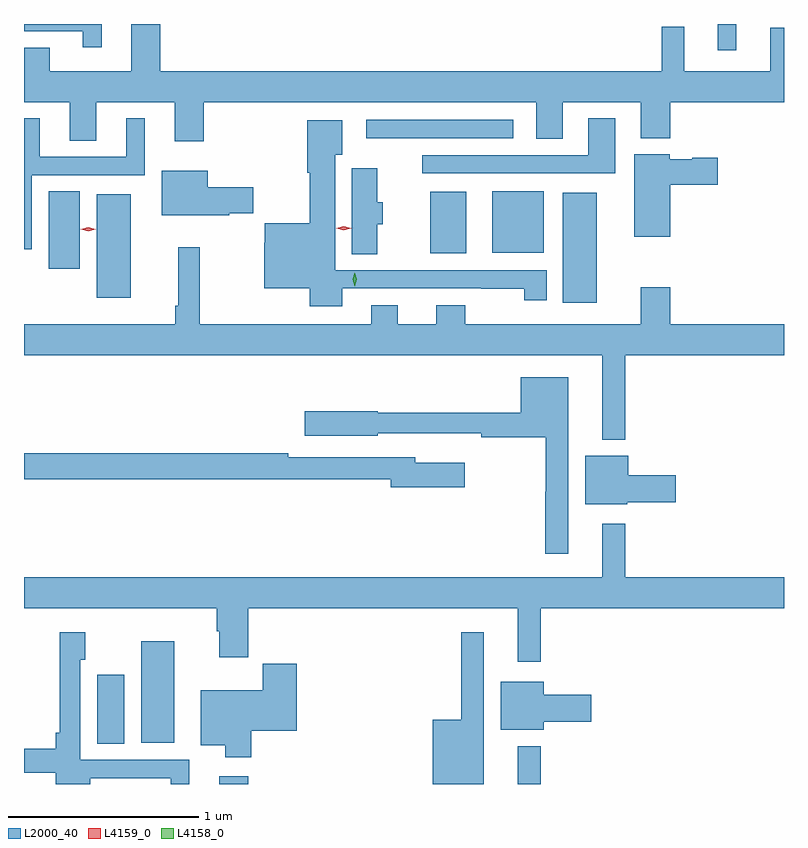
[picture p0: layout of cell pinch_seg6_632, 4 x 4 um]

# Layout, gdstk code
import gdstk
lib = gdstk.Library(unit=1e-6, precision=1e-09)
def R(c, l, rs):  # rectangles x0, y0, x1, y1
    for r in rs: c.add(gdstk.rectangle(r[:2], r[2:], *l))
def P(c, l, *ps):  # polygons
    for p in ps: c.add(gdstk.Polygon(p, *l))
L2000_40 = (2000, 40)
L4158_0 = (4158, 0)
L4159_0 = (4159, 0)

pinch_seg6_632 = lib.new_cell('pinch_seg6_632')
R(pinch_seg6_632, L2000_40, [(389.549,941.084,389.702,941.125), (391.121,941.084,391.243,941.284), (388.907,941.296,389.05,941.659), (389.138,941.3,389.314,941.836), (391.358,943.616,391.537,944.197), (388.904,943.643,389.083,944.188), (388.652,943.797,388.816,944.204), (390.659,943.877,390.85,944.2), (390.986,943.88,391.258,944.203), (390.324,944.484,391.096,944.58), (392.174,944.946,392.271,945.084)])
P(pinch_seg6_632, L2000_40, [(389.468,944.672),(391.217,944.672),(391.217,944.479),(391.357,944.479),(391.357,944.672),(391.769,944.672),(391.769,944.483),(391.922,944.483),(391.922,944.672),(392.522,944.672),(392.522,945.064),(392.45,945.064),(392.45,944.836),(391.997,944.836),(391.997,945.07),(391.879,945.07),(391.879,944.836),(389.24,944.836),(389.24,945.084),(389.087,945.084),(389.087,944.836),(388.657,944.836),(388.657,944.96),(388.522,944.96),(388.522,944.672),(388.763,944.672),(388.763,944.47),(388.903,944.47),(388.903,944.672),(389.315,944.672),(389.315,944.466),(389.468,944.466)],
  [(388.93,945.084),(388.522,945.084),(388.522,945.045),(388.832,945.045),(388.832,944.961),(388.93,944.961)],
  [(388.563,944.289),(389.158,944.289),(389.158,944.587),(389.06,944.587),(389.06,944.385),(388.606,944.385),(388.606,944.587),(388.522,944.587),(388.522,943.899),(388.563,943.899)],
  [(391.633,944.587),(391.493,944.587),(391.493,944.394),(390.618,944.394),(390.618,944.298),(391.633,944.298)],
  [(390.196,943.692),(390.928,943.692),(390.928,943.691),(391.156,943.691),(391.156,943.629),(391.273,943.629),(391.273,943.788),(390.16,943.788),(390.16,944.396),(390.196,944.396),(390.196,944.578),(390.014,944.578),(390.014,944.3),(390.026,944.3),(390.026,944.035),(389.79,944.035),(389.79,943.934),(389.786,943.934),(389.786,943.694),(390.026,943.694),(390.026,943.598),(390.196,943.598)],
  [(391.924,944.237),(392.173,944.237),(392.173,944.379),(392.04,944.379),(392.04,944.371),(391.92,944.371),(391.92,944.398),(391.733,944.398),(391.733,943.964),(391.924,943.964)],
  [(390.382,944.031),(390.409,944.031),(390.409,944.145),(390.382,944.145),(390.382,944.326),(390.248,944.326),(390.248,943.873),(390.382,943.873)],
  [(389.601,944.089),(389.729,944.089),(389.729,944.226),(389.488,944.226),(389.488,944.311),(389.246,944.311),(389.246,944.078),(389.601,944.078)],
  [(391.687,943.34),(392.522,943.34),(392.522,943.504),(391.922,943.504),(391.922,943.699),(391.769,943.699),(391.769,943.504),(390.845,943.504),(390.845,943.603),(390.692,943.603),(390.692,943.504),(390.49,943.504),(390.49,943.603),(390.35,943.603),(390.35,943.504),(389.446,943.504),(389.446,943.909),(389.335,943.909),(389.335,943.6),(389.317,943.6),(389.317,943.504),(388.522,943.504),(388.522,943.34),(391.565,943.34),(391.565,942.896),(391.687,942.896)],
  [(391.387,943.225),(391.136,943.225),(391.136,943.039),(390.384,943.039),(390.384,943.047),(390,943.047),(390,942.917),(390.384,942.917),(390.384,942.93),(390.676,942.93),(390.676,942.929),(390.928,942.929),(390.928,942.91),(391.268,942.91),(391.268,942.621),(391.266,942.621),(391.266,942.297),(391.387,942.297)],
  [(390.841,942.775),(390.58,942.775),(390.58,942.804),(389.912,942.804),(389.912,942.824),(388.522,942.824),(388.522,942.688),(390.452,942.688),(390.452,942.646),(390.841,942.646)],
  [(391.698,942.568),(391.951,942.568),(391.951,942.71),(391.702,942.71),(391.702,942.811),(391.475,942.811),(391.475,942.557),(391.698,942.557)],
  [(391.243,942.008),(392.522,942.008),(392.522,942.172),(391.687,942.172),(391.687,942.454),(391.565,942.454),(391.565,942.172),(388.522,942.172),(388.522,942.008),(389.537,942.008),(389.537,941.888),(389.549,941.888),(389.549,941.751),(389.701,941.751),(389.701,942.008),(391.121,942.008),(391.121,941.727),(391.243,941.727)],
  [(390.943,941.884),(390.822,941.884),(390.822,941.422),(390.674,941.422),(390.674,941.084),(390.943,941.084)],
  [(388.87,941.115),(389.294,941.115),(389.294,941.084),(389.392,941.084),(389.392,941.211),(388.818,941.211),(388.818,941.739),(388.845,941.739),(388.845,941.884),(388.71,941.884),(388.71,941.353),(388.688,941.353),(388.688,941.27),(388.522,941.27),(388.522,941.142),(388.688,941.142),(388.688,941.084),(388.87,941.084)],
  [(389.717,941.363),(389.957,941.363),(389.957,941.716),(389.779,941.716),(389.779,941.578),(389.453,941.578),(389.453,941.288),(389.582,941.288),(389.582,941.226),(389.717,941.226)],
  [(391.258,941.411),(391.507,941.411),(391.507,941.553),(391.258,941.553),(391.258,941.623),(391.031,941.623),(391.031,941.369),(391.258,941.369)])
P(pinch_seg6_632, L4158_0, [(390.262,943.704),(390.262,943.704),(390.253,943.74),(390.263,943.775),(390.263,943.776),(390.263,943.775),(390.273,943.74),(390.263,943.704)])
P(pinch_seg6_632, L4159_0, [(390.205,943.999),(390.165,944.008),(390.164,944.009),(390.165,944.009),(390.205,944.019),(390.245,944.01),(390.246,944.01),(390.245,944.01)],
  [(388.86,943.993),(388.821,944.003),(388.821,944.003),(388.821,944.003),(388.86,944.013),(388.899,944.003),(388.9,944.003),(388.899,944.003)])

lib.write_gds('pinch_seg6_632.gds')
